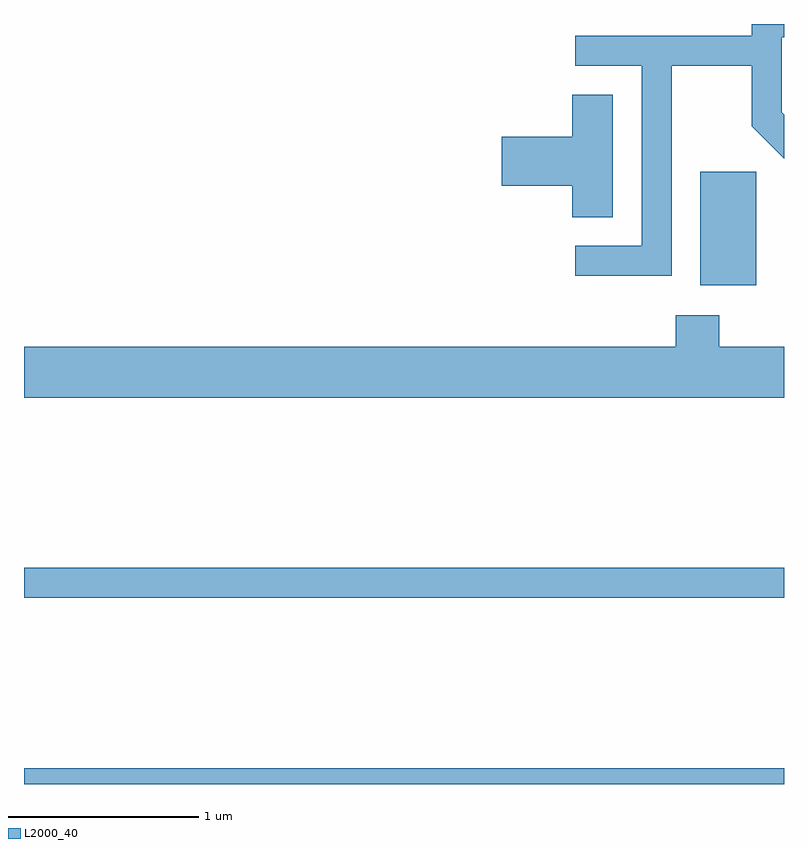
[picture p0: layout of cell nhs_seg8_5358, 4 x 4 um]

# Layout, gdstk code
import gdstk
lib = gdstk.Library(unit=1e-6, precision=1e-09)
def R(c, l, rs):  # rectangles x0, y0, x1, y1
    for r in rs: c.add(gdstk.rectangle(r[:2], r[2:], *l))
def P(c, l, *ps):  # polygons
    for p in ps: c.add(gdstk.Polygon(p, *l))
L2000_40 = (2000, 40)

nhs_seg8_5358 = lib.new_cell('nhs_seg8_5358')
R(nhs_seg8_5358, L2000_40, [(345.611,1874.342,349.611,1874.424), (345.611,1875.321,349.611,1875.479), (349.171,1876.966,349.464,1877.564)])
P(nhs_seg8_5358, L2000_40, [(349.019,1878.121),(349.441,1878.121),(349.441,1877.804),(349.611,1877.634),(349.611,1877.865),(349.599,1877.877),(349.599,1878.271),(349.611,1878.271),(349.611,1878.342),(349.441,1878.342),(349.441,1878.279),(348.513,1878.279),(348.513,1878.121),(348.861,1878.121),(348.861,1877.174),(348.513,1877.174),(348.513,1877.016),(349.019,1877.016)],
  [(348.709,1877.969),(348.496,1877.969),(348.496,1877.749),(348.126,1877.749),(348.126,1877.491),(348.496,1877.491),(348.496,1877.326),(348.709,1877.326)],
  [(349.611,1876.644),(349.269,1876.644),(349.269,1876.809),(349.041,1876.809),(349.041,1876.644),(345.611,1876.644),(345.611,1876.376),(349.611,1876.376)])

lib.write_gds('nhs_seg8_5358.gds')
